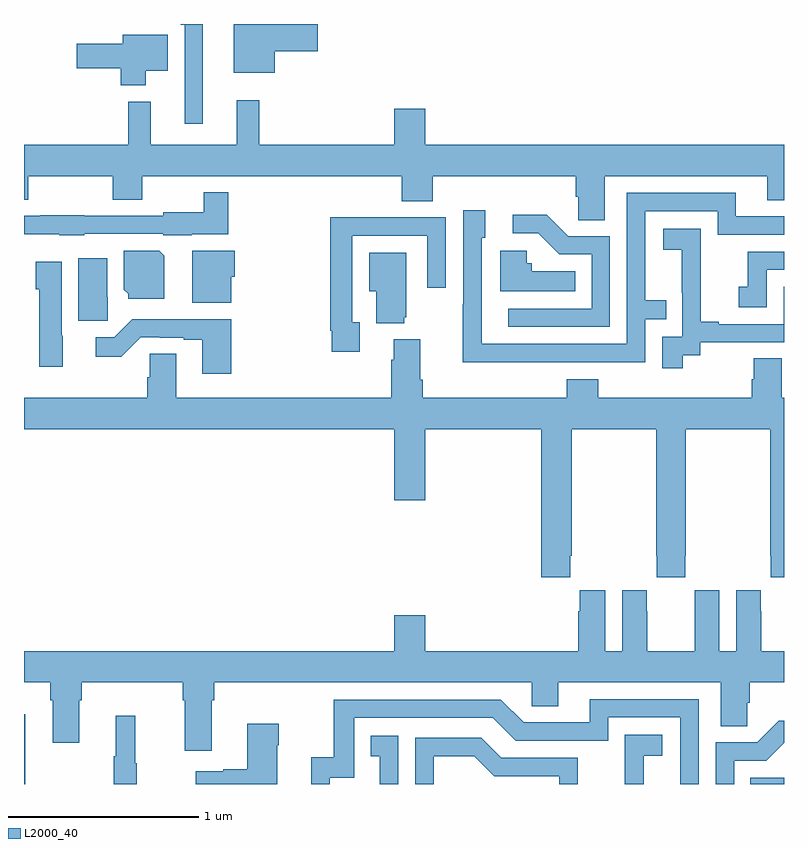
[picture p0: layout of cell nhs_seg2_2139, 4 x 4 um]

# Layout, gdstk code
import gdstk
lib = gdstk.Library(unit=1e-6, precision=1e-09)
def R(c, l, rs):  # rectangles x0, y0, x1, y1
    for r in rs: c.add(gdstk.rectangle(r[:2], r[2:], *l))
def P(c, l, *ps):  # polygons
    for p in ps: c.add(gdstk.Polygon(p, *l))
L2000_40 = (2000, 40)

nhs_seg2_2139 = lib.new_cell('nhs_seg2_2139')
R(nhs_seg2_2139, L2000_40, [(223,613.8,223.006,614.167), (226.822,613.8,227,613.834)])
P(nhs_seg2_2139, L2000_40, [(224.32,617.657),(224.545,617.657),(224.545,617.8),(224.105,617.8),(224.105,617.543),(224.32,617.543)],
  [(223.942,617.8),(223.825,617.8),(223.825,617.795),(223.845,617.795),(223.845,617.274),(223.942,617.274)],
  [(223.642,617.555),(223.756,617.555),(223.756,617.743),(223.52,617.743),(223.52,617.695),(223.278,617.695),(223.278,617.566),(223.508,617.566),(223.508,617.477),(223.642,617.477)],
  [(226.057,617),(226.913,617),(226.913,616.873),(227,616.873),(227,617.164),(225.112,617.164),(225.112,617.353),(224.948,617.353),(224.948,617.164),(224.237,617.164),(224.237,617.398),(224.12,617.398),(224.12,617.164),(223.667,617.164),(223.667,617.392),(223.549,617.392),(223.549,617.164),(223,617.164),(223,616.876),(223.023,616.876),(223.023,617),(223.468,617),(223.468,616.876),(223.623,616.876),(223.623,617),(224.987,617),(224.987,616.867),(225.152,616.867),(225.152,617),(225.905,617),(225.905,616.891),(225.918,616.891),(225.918,616.768),(226.057,616.768)],
  [(223.317,616.695),(223.734,616.695),(223.734,616.688),(223.884,616.688),(223.884,616.694),(224.075,616.694),(224.075,616.915),(223.947,616.915),(223.947,616.81),(223.734,616.81),(223.734,616.791),(223.317,616.791),(223.317,616.793),(223.085,616.793),(223.085,616.791),(223,616.791),(223,616.694),(223.185,616.694),(223.185,616.688),(223.317,616.688)],
  [(225.773,616.02),(226.269,616.02),(226.269,616.245),(226.379,616.245),(226.379,616.346),(226.269,616.346),(226.269,616.815),(226.65,616.815),(226.65,616.692),(227,616.692),(227,616.788),(226.747,616.788),(226.747,616.911),(226.173,616.911),(226.173,616.116),(225.409,616.116),(225.409,616.328),(225.408,616.328),(225.408,616.674),(225.427,616.674),(225.427,616.819),(225.312,616.819),(225.312,616.325),(225.31,616.325),(225.31,616.019),(225.773,616.019)],
  [(226.083,616.683),(225.864,616.683),(225.751,616.796),(225.573,616.796),(225.573,616.698),(225.707,616.698),(225.818,616.587),(225.987,616.587),(225.987,616.302),(225.549,616.302),(225.549,616.206),(226.083,616.206)],
  [(224.767,616.23),(224.727,616.23),(224.727,616.686),(225.123,616.686),(225.123,616.413),(225.219,616.413),(225.219,616.782),(224.903,616.782),(224.903,616.784),(224.611,616.784),(224.611,616.186),(224.619,616.186),(224.619,616.074),(224.767,616.074)],
  [(226.468,616.057),(226.56,616.057),(226.56,616.125),(227,616.125),(227,616.416),(226.998,616.416),(226.998,616.221),(226.657,616.221),(226.657,616.234),(226.562,616.234),(226.562,616.517),(226.563,616.517),(226.563,616.723),(226.365,616.723),(226.365,616.613),(226.463,616.613),(226.463,616.385),(226.464,616.385),(226.464,616.155),(226.359,616.155),(226.359,615.987),(226.468,615.987)],
  [(224.092,616.47),(224.11,616.47),(224.11,616.606),(223.886,616.606),(223.886,616.334),(224.092,616.334)],
  [(225.902,616.498),(225.672,616.498),(225.672,616.542),(225.645,616.542),(225.645,616.606),(225.506,616.606),(225.506,616.394),(225.902,616.394)],
  [(223.738,616.58),(223.712,616.606),(223.526,616.606),(223.526,616.402),(223.548,616.38),(223.548,616.355),(223.738,616.355)],
  [(226.908,616.506),(227,616.506),(227,616.602),(226.81,616.602),(226.81,616.417),(226.761,616.417),(226.761,616.308),(226.908,616.308)],
  [(225.002,616.257),(225.013,616.257),(225.013,616.597),(224.816,616.597),(224.816,616.394),(224.855,616.394),(224.855,616.226),(225.002,616.226)],
  [(223.442,616.362),(223.438,616.362),(223.438,616.567),(223.286,616.567),(223.286,616.239),(223.442,616.239)],
  [(223.204,616.158),(223.198,616.158),(223.198,616.549),(223.061,616.549),(223.061,616.404),(223.079,616.404),(223.079,615.996),(223.204,615.996)],
  [(224.09,616.246),(223.57,616.246),(223.476,616.152),(223.377,616.152),(223.377,616.05),(223.512,616.05),(223.614,616.152),(223.714,616.152),(223.714,616.149),(223.841,616.149),(223.841,616.137),(223.937,616.137),(223.937,615.96),(224.09,615.96)],
  [(226.022,615.931),(225.857,615.931),(225.857,615.832),(225.098,615.832),(225.098,615.928),(225.085,615.928),(225.085,616.141),(224.945,616.141),(224.945,616.034),(224.933,616.034),(224.933,615.832),(223.801,615.832),(223.801,616.064),(223.662,616.064),(223.662,615.942),(223.649,615.942),(223.649,615.832),(223,615.832),(223,615.668),(224.948,615.668),(224.948,615.294),(225.112,615.294),(225.112,615.668),(225.722,615.668),(225.722,614.889),(225.875,614.889),(225.875,615.001),(225.882,615.001),(225.882,615.668),(226.327,615.668),(226.327,615.001),(226.329,615.001),(226.329,614.889),(226.479,614.889),(226.479,615.001),(226.482,615.001),(226.482,615.668),(226.927,615.668),(226.927,615.001),(226.929,615.001),(226.929,614.889),(227,614.889),(227,615.832),(226.989,615.832),(226.989,616.04),(226.841,616.04),(226.841,615.93),(226.829,615.93),(226.829,615.832),(226.022,615.832)],
  [(225.112,614.689),(224.948,614.689),(224.948,614.5),(223,614.5),(223,614.336),(223.139,614.336),(223.139,614.24),(223.151,614.24),(223.151,614.016),(223.291,614.016),(223.291,614.24),(223.304,614.24),(223.304,614.336),(223.835,614.336),(223.835,614.24),(223.847,614.24),(223.847,613.974),(223.987,613.974),(223.987,614.24),(224,614.24),(224,614.336),(225.672,614.336),(225.672,614.209),(225.811,614.209),(225.811,614.336),(226.667,614.336),(226.667,614.104),(226.806,614.104),(226.806,614.227),(226.82,614.227),(226.82,614.336),(227,614.336),(227,614.5),(226.879,614.5),(226.879,614.708),(226.878,614.708),(226.878,614.821),(226.748,614.821),(226.748,614.5),(226.66,614.5),(226.66,614.821),(226.53,614.821),(226.53,614.708),(226.529,614.708),(226.529,614.5),(226.279,614.5),(226.279,614.708),(226.278,614.708),(226.278,614.821),(226.148,614.821),(226.148,614.5),(226.06,614.5),(226.06,614.821),(225.926,614.821),(225.926,614.708),(225.917,614.708),(225.917,614.5),(225.112,614.5)],
  [(224.61,613.833),(224.739,613.833),(224.739,614.148),(225.468,614.148),(225.588,614.028),(226.074,614.028),(226.074,614.151),(226.455,614.151),(226.455,613.8),(226.551,613.8),(226.551,614.247),(225.977,614.247),(225.977,614.124),(225.63,614.124),(225.51,614.244),(224.631,614.244),(224.631,613.942),(224.513,613.942),(224.513,613.8),(224.61,613.8)],
  [(223.594,613.908),(223.586,613.908),(223.586,614.158),(223.484,614.158),(223.484,613.945),(223.473,613.945),(223.473,613.8),(223.594,613.8)],
  [(226.737,613.923),(226.906,613.923),(227,614.017),(227,614.132),(226.973,614.132),(226.86,614.019),(226.641,614.019),(226.641,613.8),(226.737,613.8)],
  [(224.332,614.003),(224.34,614.003),(224.34,614.116),(224.174,614.116),(224.174,613.877),(224.048,613.877),(224.048,613.867),(223.905,613.867),(223.905,613.8),(224.332,613.8)],
  [(226.262,613.949),(226.36,613.949),(226.36,614.059),(226.162,614.059),(226.162,613.853),(226.163,613.853),(226.163,613.8),(226.262,613.8)],
  [(224.97,614.053),(224.824,614.053),(224.824,613.947),(224.873,613.947),(224.873,613.8),(224.97,613.8)],
  [(225.156,613.946),(225.37,613.946),(225.474,613.842),(225.816,613.842),(225.816,613.8),(225.915,613.8),(225.915,613.938),(225.511,613.938),(225.406,614.043),(225.06,614.043),(225.06,613.8),(225.156,613.8)])

lib.write_gds('nhs_seg2_2139.gds')
